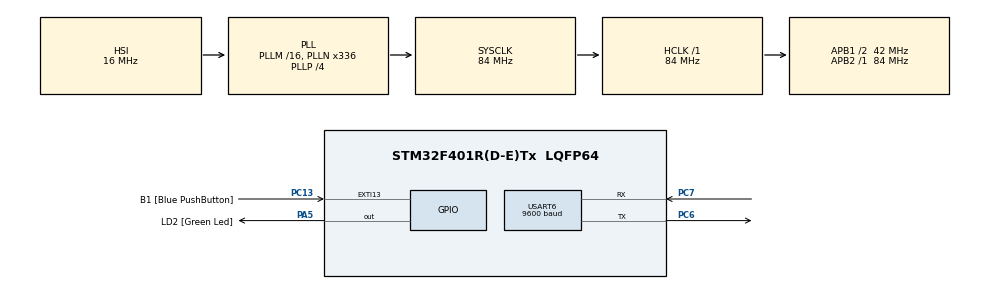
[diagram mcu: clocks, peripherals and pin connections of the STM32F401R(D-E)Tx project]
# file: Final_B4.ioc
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Mcu.Family=STM32F4
Mcu.Name=STM32F401R(D-E)Tx
Mcu.Package=LQFP64
NVIC.PriorityGroup=NVIC_PRIORITYGROUP_0
NVIC.USART6_IRQn=true\:0\:0\:false\:false\:true\:true\:true\:true
PA13.GPIO_Label=TMS
PA13.Mode=Serial_Wire
PA13.Signal=SYS_JTMS-SWDIO
PA14.GPIO_Label=TCK
PA14.Mode=Serial_Wire
PA14.Signal=SYS_JTCK-SWCLK
PA2.GPIO_Label=USART_TX
PA2.GPIO_Mode=GPIO_MODE_AF_PP
PA2.GPIO_PuPd=GPIO_NOPULL
PA2.GPIO_Speed=GPIO_SPEED_FREQ_LOW
PA2.Signal=USART2_TX
PA3.GPIO_Label=USART_RX
PA3.GPIO_Mode=GPIO_MODE_AF_PP
PA3.GPIO_PuPd=GPIO_NOPULL
PA3.GPIO_Speed=GPIO_SPEED_FREQ_LOW
PA3.Signal=USART2_RX
PA5.GPIO_Label=LD2 [Green Led]
PA5.GPIO_Mode=GPIO_MODE_OUTPUT_PP
PA5.GPIO_PuPd=GPIO_NOPULL
PA5.GPIO_Speed=GPIO_SPEED_FREQ_LOW
PA5.Signal=GPIO_Output
PB3.GPIO_Label=SWO
PB3.Signal=SYS_JTDO-SWO
PC13-ANTI_TAMP.GPIO_Label=B1 [Blue PushButton]
PC13-ANTI_TAMP.GPIO_ModeDefaultEXTI=GPIO_MODE_IT_FALLING
PC13-ANTI_TAMP.GPIO_PuPd=GPIO_NOPULL
PC13-ANTI_TAMP.Signal=GPXTI13
PC14-OSC32_IN.Mode=LSE-External-Oscillator
PC14-OSC32_IN.Signal=RCC_OSC32_IN
PC15-OSC32_OUT.Mode=LSE-External-Oscillator
PC15-OSC32_OUT.Signal=RCC_OSC32_OUT
PC6.Mode=Asynchronous
PC6.Signal=USART6_TX
PC7.Mode=Asynchronous
PC7.Signal=USART6_RX
PH0\ -\ OSC_IN.Mode=HSE-External-Clock-Source
PH0\ -\ OSC_IN.Signal=RCC_OSC_IN
PH1\ -\ OSC_OUT.Mode=HSE-External-Clock-Source
PH1\ -\ OSC_OUT.Signal=RCC_OSC_OUT
ProjectManager.HeapSize=0x200
ProjectManager.StackSize=0x400
ProjectManager.TargetToolchain=STM32CubeIDE
RCC.48MHZClocksFreq_Value=48000000
RCC.AHBFreq_Value=84000000
RCC.APB1CLKDivider=RCC_HCLK_DIV2
RCC.APB1Freq_Value=42000000
RCC.APB1TimFreq_Value=84000000
RCC.APB2Freq_Value=84000000
RCC.APB2TimFreq_Value=84000000
RCC.CortexFreq_Value=84000000
RCC.HCLKFreq_Value=84000000
RCC.HSE_VALUE=8000000
RCC.HSI_VALUE=16000000
RCC.PLLN=336
RCC.PLLP=RCC_PLLP_DIV4
RCC.PLLQ=7
RCC.SYSCLKFreq_VALUE=84000000
RCC.SYSCLKSource=RCC_SYSCLKSOURCE_PLLCLK
RCC.VCOOutputFreq_Value=336000000
USART6.BaudRate=9600
USART6.VirtualMode=VM_ASYNC
board=NUCLEO-F401RE

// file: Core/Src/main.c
/* USER CODE BEGIN Header */
/**
  ******************************************************************************
  * @file           : main.c
  * @brief          : Main program body
  ******************************************************************************
  * @attention
  *
  * Copyright (c) 2024 STMicroelectronics.
  * All rights reserved.
  *
  * This software is licensed under terms that can be found in the LICENSE file
  * in the root directory of this software component.
  * If no LICENSE file comes with this software, it is provided AS-IS.
  *
  ******************************************************************************
  */
/* USER CODE END Header */
#include "main.h"
#include <string.h>
#include <stdio.h>

/* USER CODE BEGIN PD */
#define BUFFER_SIZE 128
/* USER CODE END PD */

UART_HandleTypeDef huart6;

/* USER CODE BEGIN PV */
char buffer[BUFFER_SIZE];
volatile int buffer_index = 0;
uint8_t rx_data;
volatile uint8_t rcv_intpt_flag = 0;
/* USER CODE END PV */

void SystemClock_Config(void);
static void MX_GPIO_Init(void);
static void MX_USART6_UART_Init(void);
/* USER CODE BEGIN PFP */
void handle_setup_mode(void);
void prompt_and_receive(const char *prompt, int *value);
/* USER CODE END PFP */

/* USER CODE BEGIN 0 */
void HAL_UART_RxCpltCallback(UART_HandleTypeDef *huart)
{
  if (huart->Instance == USART6)
  {
    if (rx_data == '\r')
    {
      buffer[buffer_index] = '\0';
      rcv_intpt_flag = 1;
      buffer_index = 0; // Reset buffer index for next input
      HAL_UART_Transmit(&huart6, (uint8_t *)"\r\n", 2, HAL_MAX_DELAY); // Echo newline
    }
    else
    {
      buffer[buffer_index++] = rx_data;
      HAL_UART_Transmit(&huart6, &rx_data, 1, HAL_MAX_DELAY); // Echo the received character
    }
    HAL_UART_Receive_IT(&huart6, &rx_data, 1);
  }
}

void handle_setup_mode(void)
{
  char response[BUFFER_SIZE];
  int inlet_pwm, zone1_pwm, zone2_pwm, zone3_pwm;
  int current_time, inlet_start, inlet_stop, zone1_start, zone1_stop, zone2_start, zone2_stop, zone3_start, zone3_stop;

  snprintf(response, BUFFER_SIZE, "SETUP MODE\r\n");
  HAL_UART_Transmit(&huart6, (uint8_t *)response, strlen(response), HAL_MAX_DELAY);

  prompt_and_receive("Enter Inlet Motor Speed PWM (0-3):\r\n", &inlet_pwm);
  prompt_and_receive("Enter Zone 1 Motor Speed PWM (0-3):\r\n", &zone1_pwm);
  prompt_and_receive("Enter Zone 2 Motor Speed PWM (0-3):\r\n", &zone2_pwm);
  prompt_and_receive("Enter Zone 3 Motor Speed PWM (0-3):\r\n", &zone3_pwm);
  prompt_and_receive("Enter Current Wall Clock Time (00-23):\r\n", &current_time);
  prompt_and_receive("Enter Inlet Wall Clock Start Time (00-23):\r\n", &inlet_start);
  prompt_and_receive("Enter Inlet Wall Clock Stop Time (00-23):\r\n", &inlet_stop);
  prompt_and_receive("Enter Zone 1 Wall Clock Start Time (00-23):\r\n", &zone1_start);
  prompt_and_receive("Enter Zone 1 Wall Clock Stop Time (00-23):\r\n", &zone1_stop);
  prompt_and_receive("Enter Zone 2 Wall Clock Start Time (00-23):\r\n", &zone2_start);
  prompt_and_receive("Enter Zone 2 Wall Clock Stop Time (00-23):\r\n", &zone2_stop);
  prompt_and_receive("Enter Zone 3 Wall Clock Start Time (00-23):\r\n", &zone3_start);
  prompt_and_receive("Enter Zone 3 Wall Clock Stop Time (00-23):\r\n", &zone3_stop);

  snprintf(response, BUFFER_SIZE, "Configuration Completed:\r\nInlet PWM: %d\r\nZone 1 PWM: %d\r\nZone 2 PWM: %d\r\nZone 3 PWM: %d\r\nCurrent Time: %d\r\nInlet Start: %d\r\nInlet Stop: %d\r\nZone 1 Start: %d\r\nZone 1 Stop: %d\r\nZone 2 Start: %d\r\nZone 2 Stop: %d\r\nZone 3 Start: %d\r\nZone 3 Stop: %d\r\n",
           inlet_pwm, zone1_pwm, zone2_pwm, zone3_pwm, current_time, inlet_start, inlet_stop, zone1_start, zone1_stop, zone2_start, zone2_stop, zone3_start, zone3_stop);
  HAL_UART_Transmit(&huart6, (uint8_t *)response, strlen(response), HAL_MAX_DELAY);
}

void prompt_and_receive(const char *prompt, int *value)
{
  char response[BUFFER_SIZE];

  HAL_UART_Transmit(&huart6, (uint8_t *)prompt, strlen(prompt), HAL_MAX_DELAY);
  rcv_intpt_flag = 0;
  while (!rcv_intpt_flag); // Wait for input
  sscanf(buffer, "%d", value);
  snprintf(response, BUFFER_SIZE, "Received: %d\r\n", *value);
  HAL_UART_Transmit(&huart6, (uint8_t *)response, strlen(response), HAL_MAX_DELAY);
}

/* USER CODE END 0 */

int main(void)
{

  /* MCU Configuration--------------------------------------------------------*/

  /* Reset of all peripherals, Initializes the Flash interface and the Systick. */
  HAL_Init();

  /* Configure the system clock */
  SystemClock_Config();

  /* Initialize all configured peripherals */
  MX_GPIO_Init();
  MX_USART6_UART_Init();
  /* USER CODE BEGIN 2 */

  // Turn off the green LED (PA5) at startup
  HAL_GPIO_WritePin(GPIOA, GPIO_PIN_5, GPIO_PIN_RESET);

  // Start receiving data via interrupt
  HAL_UART_Receive_IT(&huart6, &rx_data, 1);

  // Indicate entering setup mode
  handle_setup_mode();

  // Turn on the green LED after setup mode
  HAL_GPIO_WritePin(GPIOA, GPIO_PIN_5, GPIO_PIN_SET);
  /* USER CODE END 2 */

  /* Infinite loop */
  /* USER CODE BEGIN WHILE */
  while (1)
  {
    // Main loop does nothing, everything is handled in interrupt
    /* USER CODE END WHILE */

  }
}

void SystemClock_Config(void)
{
  RCC_OscInitTypeDef RCC_OscInitStruct = {0};
  RCC_ClkInitTypeDef RCC_ClkInitStruct = {0};

  /** Configure the main internal regulator output voltage
  */
  __HAL_RCC_PWR_CLK_ENABLE();
  __HAL_PWR_VOLTAGESCALING_CONFIG(PWR_REGULATOR_VOLTAGE_SCALE2);

  /** Initializes the RCC Oscillators according to the specified parameters
  * in the RCC_OscInitTypeDef structure.
  */
  RCC_OscInitStruct.OscillatorType = RCC_OSCILLATORTYPE_HSI;
  RCC_OscInitStruct.HSIState = RCC_HSI_ON;
  RCC_OscInitStruct.HSICalibrationValue = RCC_HSICALIBRATION_DEFAULT;
  RCC_OscInitStruct.PLL.PLLState = RCC_PLL_ON;
  RCC_OscInitStruct.PLL.PLLSource = RCC_PLLSOURCE_HSI;
  RCC_OscInitStruct.PLL.PLLM = 16;
  RCC_OscInitStruct.PLL.PLLN = 336;
  RCC_OscInitStruct.PLL.PLLP = RCC_PLLP_DIV4;
  RCC_OscInitStruct.PLL.PLLQ = 7;
  if (HAL_RCC_OscConfig(&RCC_OscInitStruct) != HAL_OK)
  {
    Error_Handler();
  }

  /** Initializes the CPU, AHB and APB buses clocks
  */
  RCC_ClkInitStruct.ClockType = RCC_CLOCKTYPE_HCLK|RCC_CLOCKTYPE_SYSCLK
                              |RCC_CLOCKTYPE_PCLK1|RCC_CLOCKTYPE_PCLK2;
  RCC_ClkInitStruct.SYSCLKSource = RCC_SYSCLKSOURCE_PLLCLK;
  RCC_ClkInitStruct.AHBCLKDivider = RCC_SYSCLK_DIV1;
  RCC_ClkInitStruct.APB1CLKDivider = RCC_HCLK_DIV2;
  RCC_ClkInitStruct.APB2CLKDivider = RCC_HCLK_DIV1;

  if (HAL_RCC_ClockConfig(&RCC_ClkInitStruct, FLASH_LATENCY_2) != HAL_OK)
  {
    Error_Handler();
  }
}

static void MX_USART6_UART_Init(void)
{

  huart6.Instance = USART6;
  huart6.Init.BaudRate = 9600; // Updated baud rate to 11520
  huart6.Init.WordLength = UART_WORDLENGTH_8B;
  huart6.Init.StopBits = UART_STOPBITS_1;
  huart6.Init.Parity = UART_PARITY_NONE;
  huart6.Init.Mode = UART_MODE_TX_RX;
  huart6.Init.HwFlowCtl = UART_HWCONTROL_NONE;
  huart6.Init.OverSampling = UART_OVERSAMPLING_16;
  if (HAL_UART_Init(&huart6) != HAL_OK)
  {
    Error_Handler();
  }

}

static void MX_GPIO_Init(void)
{
  GPIO_InitTypeDef GPIO_InitStruct = {0};

  /* GPIO Ports Clock Enable */
  __HAL_RCC_GPIOC_CLK_ENABLE();
  __HAL_RCC_GPIOH_CLK_ENABLE();
  __HAL_RCC_GPIOA_CLK_ENABLE();
  __HAL_RCC_GPIOB_CLK_ENABLE();

  /*Configure GPIO pin Output Level */
  HAL_GPIO_WritePin(GPIOA, GPIO_PIN_5, GPIO_PIN_RESET);

  /*Configure GPIO pin : B1_Pin */
  GPIO_InitStruct.Pin = B1_Pin;
  GPIO_InitStruct.Mode = GPIO_MODE_IT_FALLING;
  GPIO_InitStruct.Pull = GPIO_NOPULL;
  HAL_GPIO_Init(GPIOC, &GPIO_InitStruct);

  /*Configure GPIO pin : LD2_Pin */
  GPIO_InitStruct.Pin = GPIO_PIN_5;
  GPIO_InitStruct.Mode = GPIO_MODE_OUTPUT_PP;
  GPIO_InitStruct.Pull = GPIO_NOPULL;
  GPIO_InitStruct.Speed = GPIO_SPEED_FREQ_LOW;
  HAL_GPIO_Init(GPIOA, &GPIO_InitStruct);

}

void Error_Handler(void)
{
  __disable_irq();
  while (1)
  {
  }
}

prompt_and_receive("Enter Inlet Motor Speed PWM (0-3): ", &inlet_pwm);
  prompt_and_receive("Enter Zone 1 Motor Speed PWM (0-3): ", &zone1_pwm);
  prompt_and_receive("Enter Zone 2 Motor Speed PWM (0-3): ", &zone2_pwm);
  prompt_and_receive("Enter Zone 3 Motor Speed PWM (0-3): ", &zone3_pwm);
  prompt_and_receive("Enter Current Wall Clock Time (00-23): ", &current_time);
  prompt_and_receive("Enter Inlet Wall Clock Start Time (00-23): ", &inlet_start);
  prompt_and_receive("Enter Inlet Wall Clock Stop Time (00-23): ", &inlet_stop);
  prompt_and_receive("Enter Zone 1 Wall Clock Start Time (00-23): ", &zone1_start);
  prompt_and_receive("Enter Zone 1 Wall Clock Stop Time (00-23): ", &zone1_stop);
  prompt_and_receive("Enter Zone 2 Wall Clock Start Time (00-23): ", &zone2_start);
  prompt_and_receive("Enter Zone 2 Wall Clock Stop Time (00-23): ", &zone2_stop);
  prompt_and_receive("Enter Zone 3 Wall Clock Start Time (00-23): ", &zone3_start);
  prompt_and_receive("Enter Zone 3 Wall Clock Stop Time (00-23): ", &zone3_stop);
